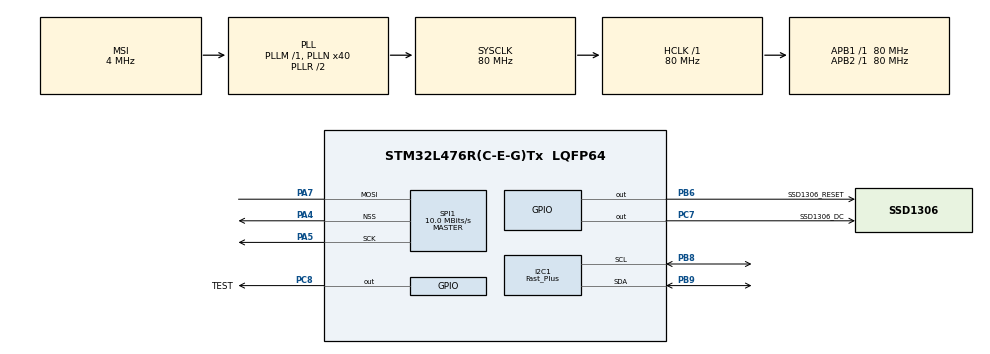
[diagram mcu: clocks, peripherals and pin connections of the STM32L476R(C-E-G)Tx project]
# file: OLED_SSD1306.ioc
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Dma.I2C1_TX.0.Direction=DMA_MEMORY_TO_PERIPH
Dma.I2C1_TX.0.Instance=DMA2_Channel7
Dma.I2C1_TX.0.MemDataAlignment=DMA_MDATAALIGN_BYTE
Dma.I2C1_TX.0.MemInc=DMA_MINC_ENABLE
Dma.I2C1_TX.0.Mode=DMA_NORMAL
Dma.I2C1_TX.0.PeriphDataAlignment=DMA_PDATAALIGN_BYTE
Dma.I2C1_TX.0.PeriphInc=DMA_PINC_DISABLE
Dma.I2C1_TX.0.Priority=DMA_PRIORITY_HIGH
Dma.Request0=I2C1_TX
Dma.Request1=SPI1_TX
Dma.SPI1_TX.1.Direction=DMA_MEMORY_TO_PERIPH
Dma.SPI1_TX.1.Instance=DMA1_Channel3
Dma.SPI1_TX.1.MemDataAlignment=DMA_MDATAALIGN_BYTE
Dma.SPI1_TX.1.MemInc=DMA_MINC_ENABLE
Dma.SPI1_TX.1.Mode=DMA_NORMAL
Dma.SPI1_TX.1.PeriphDataAlignment=DMA_PDATAALIGN_BYTE
Dma.SPI1_TX.1.PeriphInc=DMA_PINC_DISABLE
Dma.SPI1_TX.1.Priority=DMA_PRIORITY_HIGH
I2C1.I2C_Speed_Mode=I2C_Fast_Plus
I2C1.Timing=0x00300F33
Mcu.Family=STM32L4
Mcu.Name=STM32L476R(C-E-G)Tx
Mcu.Package=LQFP64
NVIC.DMA1_Channel3_IRQn=true\:0\:0\:false\:true\:true\:1\:false
NVIC.DMA2_Channel7_IRQn=true\:0\:0\:false\:false\:true\:false
NVIC.I2C1_EV_IRQn=true\:0\:0\:false\:false\:true\:true
NVIC.PriorityGroup=NVIC_PRIORITYGROUP_4
PA4.Mode=NSS_Signal_Hard_Output
PA4.Signal=SPI1_NSS
PA5.Mode=Simplex_Bidirectional_Master
PA5.Signal=SPI1_SCK
PA7.Mode=Simplex_Bidirectional_Master
PA7.Signal=SPI1_MOSI
PB6.GPIO_Label=SSD1306_RESET
PB6.Signal=GPIO_Output
PB8.Mode=I2C
PB8.Signal=I2C1_SCL
PB9.Mode=I2C
PB9.Signal=I2C1_SDA
PC7.GPIO_Label=SSD1306_DC
PC7.Signal=GPIO_Output
PC8.GPIO_Label=TEST
PC8.Signal=GPIO_Output
ProjectManager.HeapSize=0x200
ProjectManager.StackSize=0x400
ProjectManager.TargetToolchain=SW4STM32
RCC.AHBFreq_Value=80000000
RCC.APB1Freq_Value=80000000
RCC.APB1TimFreq_Value=80000000
RCC.APB2Freq_Value=80000000
RCC.APB2TimFreq_Value=80000000
RCC.CortexFreq_Value=80000000
RCC.HCLKFreq_Value=80000000
RCC.HSE_VALUE=8000000
RCC.HSI_VALUE=16000000
RCC.LSE_VALUE=32768
RCC.MSI_VALUE=4000000
RCC.PLLN=40
RCC.SYSCLKFreq_VALUE=80000000
RCC.SYSCLKSource=RCC_SYSCLKSOURCE_PLLCLK
RCC.VCOOutputFreq_Value=160000000
SPI1.BaudRatePrescaler=SPI_BAUDRATEPRESCALER_8
SPI1.CalculateBaudRate=10.0 MBits/s
SPI1.DataSize=SPI_DATASIZE_8BIT
SPI1.Direction=SPI_DIRECTION_1LINE
SPI1.Mode=SPI_MODE_MASTER
SPI1.VirtualNSS=VM_NSSHARD
SPI1.VirtualType=VM_MASTER
board=custom

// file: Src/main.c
/* USER CODE BEGIN Header */
/**
  ******************************************************************************
  * @file           : main.c
  * @brief          : Main program body
  ******************************************************************************
  ** This notice applies to any and all portions of this file
  * that are not between comment pairs USER CODE BEGIN and
  * USER CODE END. Other portions of this file, whether
  * inserted by the user or by software development tools
  * are owned by their respective copyright owners.
  *
  * COPYRIGHT(c) 2018 STMicroelectronics
  *
  * Redistribution and use in source and binary forms, with or without modification,
  * are permitted provided that the following conditions are met:
  *   1. Redistributions of source code must retain the above copyright notice,
  *      this list of conditions and the following disclaimer.
  *   2. Redistributions in binary form must reproduce the above copyright notice,
  *      this list of conditions and the following disclaimer in the documentation
  *      and/or other materials provided with the distribution.
  *   3. Neither the name of STMicroelectronics nor the names of its contributors
  *      may be used to endorse or promote products derived from this software
  *      without specific prior written permission.
  *
  * THIS SOFTWARE IS PROVIDED BY THE COPYRIGHT HOLDERS AND CONTRIBUTORS "AS IS"
  * AND ANY EXPRESS OR IMPLIED WARRANTIES, INCLUDING, BUT NOT LIMITED TO, THE
  * IMPLIED WARRANTIES OF MERCHANTABILITY AND FITNESS FOR A PARTICULAR PURPOSE ARE
  * DISCLAIMED. IN NO EVENT SHALL THE COPYRIGHT HOLDER OR CONTRIBUTORS BE LIABLE
  * FOR ANY DIRECT, INDIRECT, INCIDENTAL, SPECIAL, EXEMPLARY, OR CONSEQUENTIAL
  * DAMAGES (INCLUDING, BUT NOT LIMITED TO, PROCUREMENT OF SUBSTITUTE GOODS OR
  * SERVICES; LOSS OF USE, DATA, OR PROFITS; OR BUSINESS INTERRUPTION) HOWEVER
  * CAUSED AND ON ANY THEORY OF LIABILITY, WHETHER IN CONTRACT, STRICT LIABILITY,
  * OR TORT (INCLUDING NEGLIGENCE OR OTHERWISE) ARISING IN ANY WAY OUT OF THE USE
  * OF THIS SOFTWARE, EVEN IF ADVISED OF THE POSSIBILITY OF SUCH DAMAGE.
  *
  ******************************************************************************
  */
/* USER CODE END Header */

#include "main.h"
#include "dma.h"
#include "i2c.h"
#include "spi.h"
#include "gpio.h"

/* USER CODE BEGIN Includes */
#include "stdio.h"
#include "stdlib.h"
#include "string.h"
#include "OLED_SSD1306.h"
#include "GFX_BW.h"
#include "fonts/fonts.h"
#include "picture.h"
/* USER CODE END Includes */

/* USER CODE BEGIN PV */
/* Private variables ---------------------------------------------------------*/
volatile uint16_t timer_1s;
/* USER CODE END PV */

void SystemClock_Config(void);
static void MX_NVIC_Init(void);
/* USER CODE BEGIN PFP */
/* Private function prototypes -----------------------------------------------*/

/* USER CODE END PFP */

int main(void)
{

  /* MCU Configuration--------------------------------------------------------*/

  /* Reset of all peripherals, Initializes the Flash interface and the Systick. */
  HAL_Init();

  /* Configure the system clock */
  SystemClock_Config();

  /* Initialize all configured peripherals */
  MX_GPIO_Init();
  MX_DMA_Init();
  MX_I2C1_Init();
  MX_SPI1_Init();

  /* Initialize interrupts */
  MX_NVIC_Init();
  /* USER CODE BEGIN 2 */
#ifdef SSD1306_I2C_CONTROL
  SSD1306_I2cInit(&hi2c1);
#endif
#ifdef SSD1306_SPI_CONTROL
  SSD1306_SpiInit(&hspi1);
#endif
  SSD1306_Bitmap((uint8_t*)picture);
  HAL_Delay(5000);
  GFX_SetFont(font_7x5);
  GFX_SetFontSize(1);

//  SSD1306_StartScrollLeftUp(0,7,SCROLL_EVERY_4_FRAMES, 1);
//  SSD1306_StartScrollLeft(0,7,SCROLL_EVERY_4_FRAMES);
//  SSD1306_StartBlinking(1);
//  SSD1306_ZoomIn(1);
  uint16_t frames = 0, fps = 0;
  uint32_t loops = 0, loops_overal = 0;
  char fps_c[20];
  /* USER CODE END 2 */

  /* Infinite loop */
  /* USER CODE BEGIN WHILE */
  while (1)
  {
	if(!timer_1s)
	{
		  timer_1s = 1000;
		  fps = frames;
		  frames = 0;
		  loops_overal = loops;
		  loops = 0;
	}

#ifdef SSD1306_I2C_DMA_ENABLE
	if(hi2c1.hdmatx->State == HAL_DMA_STATE_READY)
	{
#endif
#ifdef SSD1306_SPI_DMA_ENABLE
	if(hspi1.hdmatx->State == HAL_DMA_STATE_READY)
	{
#endif
		sprintf(fps_c, "loops: %02d", (int)loops_overal);
		SSD1306_Clear(BLACK);
		GFX_DrawString(10,10, fps_c, WHITE, BLACK);
		sprintf(fps_c, "FPS: %02d", fps);
		GFX_DrawString(10,20, fps_c, WHITE, BLACK);
		GFX_DrawString(19,40, "www.msalamon.pl", WHITE, BLACK);
		frames++;
		HAL_GPIO_WritePin(TEST_GPIO_Port, TEST_Pin, 1);
		SSD1306_Display();
#if  defined(SSD1306_I2C_DMA_ENABLE) || defined(SSD1306_SPI_DMA_ENABLE)
	}
#endif
//

//	  SSD1306_Bitmap((uint8_t*)picture);
	  HAL_GPIO_WritePin(TEST_GPIO_Port, TEST_Pin, 0);
//	  HAL_Delay(500);
	  loops++;

    /* USER CODE END WHILE */

  }
}

void SystemClock_Config(void)
{
  RCC_OscInitTypeDef RCC_OscInitStruct = {0};
  RCC_ClkInitTypeDef RCC_ClkInitStruct = {0};
  RCC_PeriphCLKInitTypeDef PeriphClkInit = {0};

  /**Initializes the CPU, AHB and APB busses clocks
  */
  RCC_OscInitStruct.OscillatorType = RCC_OSCILLATORTYPE_MSI;
  RCC_OscInitStruct.MSIState = RCC_MSI_ON;
  RCC_OscInitStruct.MSICalibrationValue = 0;
  RCC_OscInitStruct.MSIClockRange = RCC_MSIRANGE_6;
  RCC_OscInitStruct.PLL.PLLState = RCC_PLL_ON;
  RCC_OscInitStruct.PLL.PLLSource = RCC_PLLSOURCE_MSI;
  RCC_OscInitStruct.PLL.PLLM = 1;
  RCC_OscInitStruct.PLL.PLLN = 40;
  RCC_OscInitStruct.PLL.PLLP = RCC_PLLP_DIV7;
  RCC_OscInitStruct.PLL.PLLQ = RCC_PLLQ_DIV2;
  RCC_OscInitStruct.PLL.PLLR = RCC_PLLR_DIV2;
  if (HAL_RCC_OscConfig(&RCC_OscInitStruct) != HAL_OK)
  {
    Error_Handler();
  }
  /**Initializes the CPU, AHB and APB busses clocks
  */
  RCC_ClkInitStruct.ClockType = RCC_CLOCKTYPE_HCLK|RCC_CLOCKTYPE_SYSCLK
                              |RCC_CLOCKTYPE_PCLK1|RCC_CLOCKTYPE_PCLK2;
  RCC_ClkInitStruct.SYSCLKSource = RCC_SYSCLKSOURCE_PLLCLK;
  RCC_ClkInitStruct.AHBCLKDivider = RCC_SYSCLK_DIV1;
  RCC_ClkInitStruct.APB1CLKDivider = RCC_HCLK_DIV1;
  RCC_ClkInitStruct.APB2CLKDivider = RCC_HCLK_DIV1;

  if (HAL_RCC_ClockConfig(&RCC_ClkInitStruct, FLASH_LATENCY_4) != HAL_OK)
  {
    Error_Handler();
  }
  PeriphClkInit.PeriphClockSelection = RCC_PERIPHCLK_I2C1;
  PeriphClkInit.I2c1ClockSelection = RCC_I2C1CLKSOURCE_PCLK1;
  if (HAL_RCCEx_PeriphCLKConfig(&PeriphClkInit) != HAL_OK)
  {
    Error_Handler();
  }
  /**Configure the main internal regulator output voltage
  */
  if (HAL_PWREx_ControlVoltageScaling(PWR_REGULATOR_VOLTAGE_SCALE1) != HAL_OK)
  {
    Error_Handler();
  }
}

/**
  * @brief NVIC Configuration.
  * @retval None
  */
static void MX_NVIC_Init(void)
{
  /* DMA1_Channel3_IRQn interrupt configuration */
  HAL_NVIC_SetPriority(DMA1_Channel3_IRQn, 0, 0);
  HAL_NVIC_EnableIRQ(DMA1_Channel3_IRQn);
}

/* USER CODE BEGIN 4 */
void HAL_SYSTICK_Callback(void)
{
	if(timer_1s){ --timer_1s;}
}

void I2C_DMAError(void)
{
	while(1)
	{

	}
}

void HAL_SPI_TxCpltCallback(SPI_HandleTypeDef *hspi)
{
#if defined(SSD1306_SPI_CONTROL) && !defined(SSD1306_SPI_DMA_ENABLE)
	SSD1306_DmaEndCallback(hspi);
#endif
}
/* USER CODE END 4 */

void Error_Handler(void)
{
  while(1)
  {
  }
}

/************************ (C) COPYRIGHT STMicroelectronics *****END OF FILE****/
